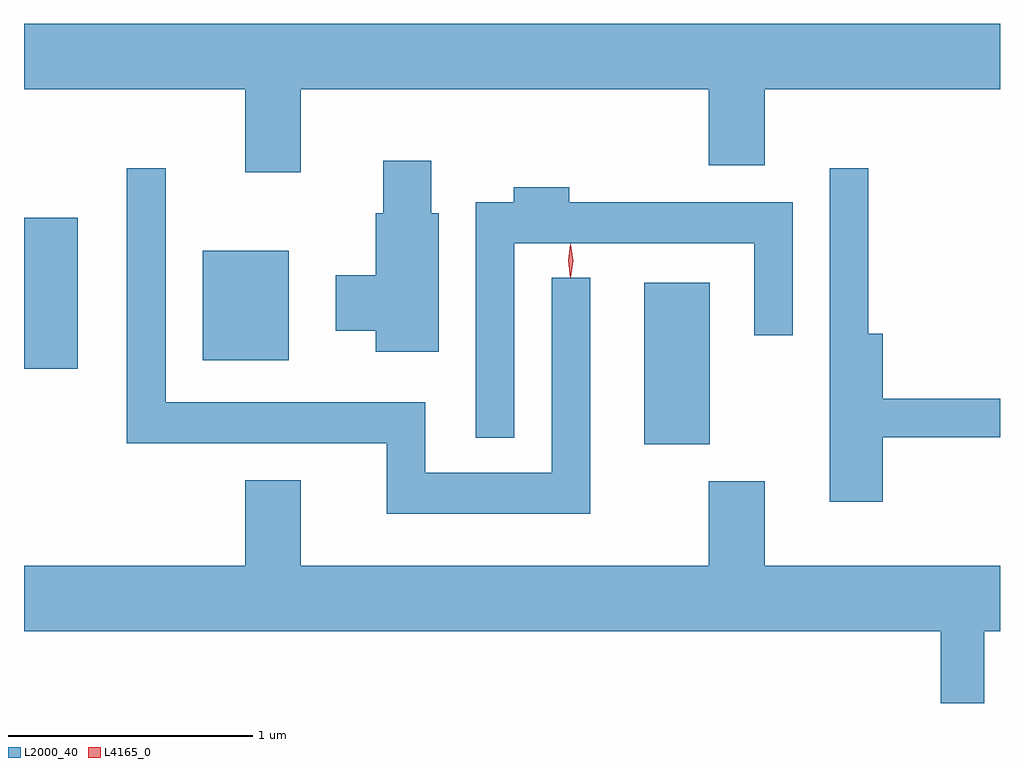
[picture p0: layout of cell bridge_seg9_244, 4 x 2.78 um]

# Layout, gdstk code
import gdstk
lib = gdstk.Library(unit=1e-6, precision=1e-09)
def R(c, l, rs):  # rectangles x0, y0, x1, y1
    for r in rs: c.add(gdstk.rectangle(r[:2], r[2:], *l))
def P(c, l, *ps):  # polygons
    for p in ps: c.add(gdstk.Polygon(p, *l))
L2000_40 = (2000, 40)
L4165_0 = (4165, 0)

bridge_seg9_244 = lib.new_cell('bridge_seg9_244')
R(bridge_seg9_244, L2000_40, [(1465.486,1990.361,1465.754,1991.024), (1462.944,1990.671,1463.164,1991.289), (1463.676,1990.706,1464.029,1991.154)])
P(bridge_seg9_244, L2000_40, [(1464.079,1991.816),(1465.751,1991.816),(1465.751,1991.506),(1465.979,1991.506),(1465.979,1991.816),(1466.944,1991.816),(1466.944,1992.084),(1462.944,1992.084),(1462.944,1991.816),(1463.851,1991.816),(1463.851,1991.476),(1464.079,1991.476)],
  [(1464.644,1991.309),(1464.614,1991.309),(1464.614,1991.524),(1464.416,1991.524),(1464.416,1991.309),(1464.386,1991.309),(1464.386,1991.054),(1464.221,1991.054),(1464.221,1990.826),(1464.386,1990.826),(1464.386,1990.741),(1464.644,1990.741)],
  [(1466.464,1990.391),(1466.944,1990.391),(1466.944,1990.549),(1466.464,1990.549),(1466.464,1990.814),(1466.404,1990.814),(1466.404,1991.493),(1466.246,1991.493),(1466.246,1990.126),(1466.464,1990.126)],
  [(1465.264,1991.043),(1465.106,1991.043),(1465.106,1990.244),(1464.589,1990.244),(1464.589,1990.534),(1463.524,1990.534),(1463.524,1991.493),(1463.366,1991.493),(1463.366,1990.366),(1464.431,1990.366),(1464.431,1990.076),(1465.264,1990.076)],
  [(1464.954,1991.186),(1465.936,1991.186),(1465.936,1990.808),(1466.094,1990.808),(1466.094,1991.354),(1465.179,1991.354),(1465.179,1991.414),(1464.951,1991.414),(1464.951,1991.354),(1464.796,1991.354),(1464.796,1990.388),(1464.954,1990.388)],
  [(1466.879,1989.596),(1466.944,1989.596),(1466.944,1989.864),(1465.979,1989.864),(1465.979,1990.209),(1465.751,1990.209),(1465.751,1989.864),(1464.079,1989.864),(1464.079,1990.214),(1463.851,1990.214),(1463.851,1989.864),(1462.944,1989.864),(1462.944,1989.596),(1466.701,1989.596),(1466.701,1989.301),(1466.879,1989.301)])
P(bridge_seg9_244, L4165_0, [(1465.183,1991.044),(1465.174,1991.113),(1465.183,1991.182),(1465.184,1991.183),(1465.184,1991.182),(1465.194,1991.113),(1465.184,1991.044),(1465.184,1991.044)],
  [(1465.184,1991.047),(1465.183,1991.048),(1465.174,1991.114),(1465.183,1991.18),(1465.183,1991.18),(1465.184,1991.18),(1465.194,1991.114),(1465.184,1991.048)])

lib.write_gds('bridge_seg9_244.gds')
